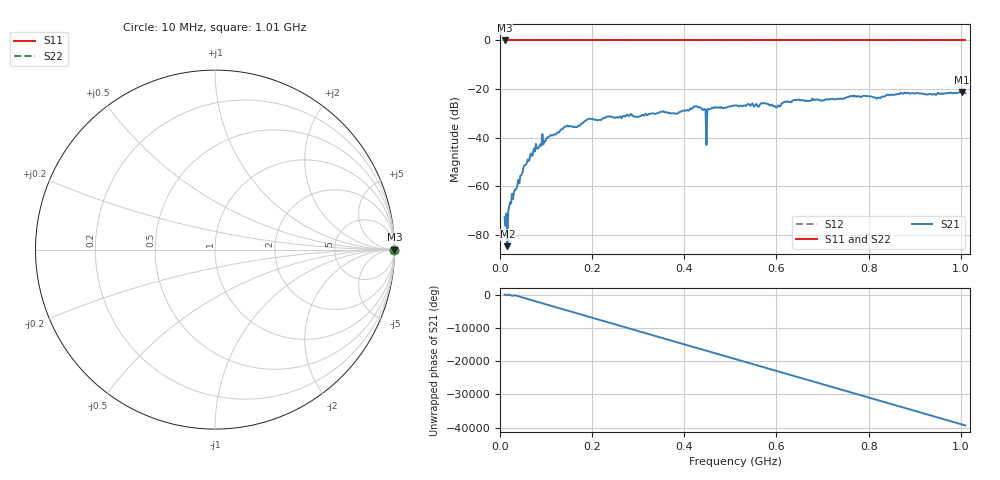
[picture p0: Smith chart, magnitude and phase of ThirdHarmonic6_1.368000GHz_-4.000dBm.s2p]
! 8/16/2025 3:28:44 PM
! C:\ANRITSUVNA\TEMP\TEMP.S2P
! CHANNEL.1
! TR.MEASUREMENT
! RAW.DATA
! RF.CORRECTION.OFF
! AVERAGING.OFF
! IF.BANDWIDTH: 5KHZ
! SWEEPTYPE:  FREQ.SWEEP(Linear)
! Reference Plane Port Info
! PORT:  PORT1  PORT2
! DISTANCE:  0  m  0  m
! TIME:  0  s  0  s
! PHASE.OFFSET:  0  deg.  0  deg.
! LOSS:  0  dB  0  dB
! REF.LOSS:  0  dB  0  dB
! REF.FREQ:  0  Hz  0  Hz
! Power Info
! POWER:  -20  dBm  -20  dBm
! EFF.POWER:  -20  dBm  -20  dBm
! SOURCE.ATTEN:  0  dB  0  dB
! TEST.ATTEN:  0  dB  0  dB
# GHZ S RI R 50.0
! FREQ.GHZ  S11RE  S11IM  S21RE  S21IM  S12RE  S12IM  S22RE  S22IM
!; PortSelection: Port_12
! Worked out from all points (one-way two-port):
!   501 points, 10 MHz to 1.01 GHz, reference 50 ohm
!   highest |S21| = -21.16 dB at 1.002 GHz (marker M1); lowest = -84.6 dB at 16 MHz (marker M2)
!   lowest |S11| = 0.0 dB at 10 MHz (marker M3)
!   |S11| at or under -10 dB: nowhere
!   |S22| runs from 0.0 to 0.0 dB; largest |S21 - S12| = 1.1
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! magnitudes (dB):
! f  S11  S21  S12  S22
! 10 MHz  0.0  -72.7  0.0  0.0
! 12 MHz  0.0  -76.3  0.0  0.0
! 16 MHz  0.0  -84.6  0.0  0.0
! 22 MHz  0.0  -66.5  0.0  0.0
! 48 MHz  0.0  -54.8  0.0  0.0
! 76 MHz  0.0  -45.7  0.0  0.0
! 142 MHz  0.0  -35.5  0.0  0.0
! 178 MHz  0.0  -34.0  0.0  0.0
! 194 MHz  0.0  -32.2  0.0  0.0
! 344 MHz  0.0  -29.8  0.0  0.0
! 382 MHz  0.0  -30.1  0.0  0.0
! 424 MHz  0.0  -27.1  0.0  0.0
! 442 MHz  0.0  -28.3  0.0  0.0
! 444 MHz  0.0  -28.3  0.0  0.0
! 452 MHz  0.0  -28.1  0.0  0.0
! 454 MHz  0.0  -28.3  0.0  0.0
! 510 MHz  0.0  -26.8  0.0  0.0
! 602 MHz  0.0  -27.1  0.0  0.0
! 678 MHz  0.0  -23.9  0.0  0.0
! 844 MHz  0.0  -22.5  0.0  0.0
! 1.002 GHz  0.0  -21.2  0.0  0.0
! 1.01 GHz  0.0  -21.6  0.0  0.0
